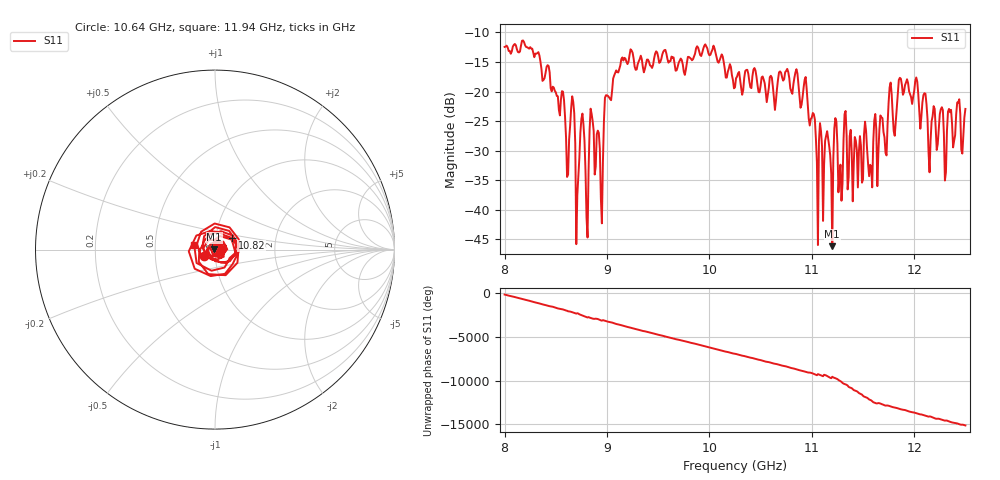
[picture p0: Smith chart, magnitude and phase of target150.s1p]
#  HZ  S  RI  R  50.00
! Rohde & Schwarz Vector Network Analyzer
! Rohde-Schwarz,ZNA43-4Port,1332450044101932,2.92
! Created: UTC 6/9/2026, 6:47:13 AM
! freq[Hz]  re:S11  im:S11
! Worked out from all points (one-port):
!   451 points, 8 GHz to 12.5 GHz, reference 50 ohm
!   lowest |S11| = -46.2 dB at 11.2 GHz (marker M1), VSWR 1.01, Z = 49.5 + j0.173 ohm
!   |S11| at or under -10 dB: start of sweep to end of sweep
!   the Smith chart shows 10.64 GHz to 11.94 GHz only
!   S11 on the Smith chart (normalised r, x): 10.64 GHz: 0.88, -0.06; 10.82 GHz: 1.20, +0.16; 11.94 GHz: 0.79, +0.04
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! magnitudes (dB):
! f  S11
! 8 GHz  -12.4
! 8.57 GHz  -20.0
! 8.62 GHz  -34.1
! 8.67 GHz  -21.7
! 8.71 GHz  -37.6
! 8.76 GHz  -23.7
! 8.8 GHz  -41.3
! 8.85 GHz  -23.8
! 8.94 GHz  -38.1
! 8.99 GHz  -20.6
! 9.13 GHz  -15.6
! 9.69 GHz  -15.8
! 10.25 GHz  -19.3
! 10.64 GHz  -23.1
! 10.82 GHz  -18.8
! 11.2 GHz  -46.2
! 11.23 GHz  -24.5
! 11.28 GHz  -32.4
! 11.32 GHz  -23.8
! 11.38 GHz  -26.5
! 11.53 GHz  -26.7
! 11.57 GHz  -32.4
! 11.76 GHz  -19.3
! 11.81 GHz  -27.5
! 11.94 GHz  -18.5
! 12.1 GHz  -20.3
! 12.15 GHz  -33.7
! 12.5 GHz  -22.9
